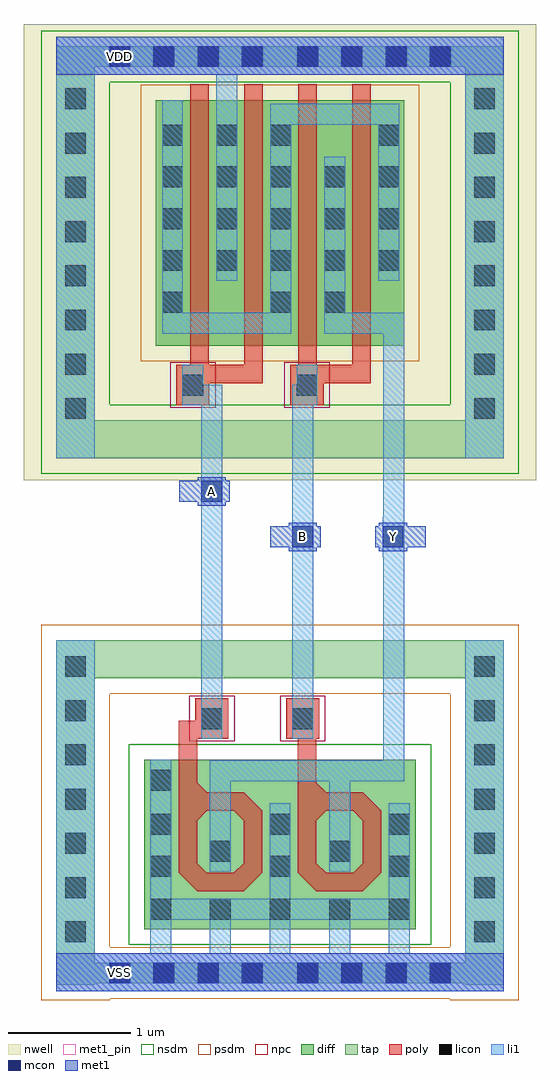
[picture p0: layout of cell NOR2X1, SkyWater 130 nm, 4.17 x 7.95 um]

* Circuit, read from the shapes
.subckt NOR2X1 A B VDD VSS Y
XM1 VSS A Y VSS sky130_fd_pr__nfet_01v8 w=2.56 l=0.1455
XM2 VSS B Y VSS sky130_fd_pr__nfet_01v8 w=2.56 l=0.1461
XM3 VDD A n1 VDD sky130_fd_pr__pfet_01v8 w=2 l=0.15 m=2
XM4 Y B n1 VDD sky130_fd_pr__pfet_01v8 w=2 l=0.15 m=2
.ends

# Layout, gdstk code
import gdstk
lib = gdstk.Library(unit=1e-6, precision=1e-09)
def R(c, l, rs):  # rectangles x0, y0, x1, y1
    for r in rs: c.add(gdstk.rectangle(r[:2], r[2:], *l))
def A(c, l, x, y, w, h, nx, ny, dx, dy):  # array of equal rectangles
    R(c, l, [(x+i*dx, y+j*dy, x+i*dx+w, y+j*dy+h) for i in range(nx) for j in range(ny)])
def P(c, l, *ps):  # polygons
    for p in ps: c.add(gdstk.Polygon(p, *l))
nwell = (64, 20)
diff = (65, 20)
tap = (65, 44)
poly = (66, 20)
licon = (66, 44)
li1 = (67, 20)
mcon = (67, 44)
met1_pin = (68, 16)
met1 = (68, 20)
nsdm = (93, 44)
psdm = (94, 20)
npc = (95, 20)

nor2x1 = lib.new_cell('NOR2X1')
R(nor2x1, nwell, [(-0.42,4.16,3.75,7.875)])
R(nor2x1, diff, [(0.56,0.505,2.77,1.885), (0.655,5.255,2.675,7.255)])
R(nor2x1, tap, [(-0.155,0.055,0.155,0.065), (3.175,0.055,3.485,0.065), (-0.155,0.065,3.485,0.235), (-0.155,0.235,0.155,2.55), (3.175,0.235,3.485,2.55), (-0.155,2.55,3.485,2.86), (-0.155,4.34,3.485,4.65), (-0.155,4.65,0.155,7.525), (3.175,4.65,3.485,7.525), (-0.155,7.525,3.485,7.695)])
A(nor2x1, poly, 0.935, 5.1, 0.15, 2.285, 4, 1, 0.44, 0)
R(nor2x1, poly, [(0.99,0.815,1.37,0.965), (1.96,0.815,2.34,0.965), (0.84,0.965,0.99,1.47), (1.37,0.965,1.52,1.47), (1.81,0.965,1.96,1.395), (2.34,0.965,2.49,1.395), (1.81,1.395,1.965,1.47), (2.335,1.395,2.49,1.47), (0.84,1.47,1.37,1.62), (1.81,1.47,2.34,1.62), (0.84,1.62,0.99,2.055), (1.81,1.62,1.96,2.055), (0.84,2.055,1.245,2.205), (1.715,2.055,1.985,2.385), (0.975,2.205,1.245,2.385), (0.82,4.77,1.09,4.95), (1.75,4.77,2.02,4.95), (0.82,4.95,1.525,5.1), (1.75,4.95,2.405,5.1)])
P(nor2x1, poly, [(0.99,1.7),(0.99,1.62),(1.07,1.62)],
  [(1.96,1.7),(1.96,1.62),(2.04,1.62)],
  [(1.37,1.62),(1.37,1.47),(1.52,1.47)],
  [(0.99,1.39),(0.99,1.47),(1.07,1.47)],
  [(1.29,1.47),(1.37,1.47),(1.37,1.39)],
  [(0.99,1.045),(0.99,0.965),(1.07,0.965)],
  [(1.29,0.965),(1.37,0.965),(1.37,1.045)],
  [(0.84,0.965),(0.99,0.965),(0.99,0.815)],
  [(1.37,0.815),(1.37,0.965),(1.52,0.965)],
  [(2.34,1.62),(2.34,1.47),(2.49,1.47)],
  [(1.965,1.395),(1.965,1.47),(2.04,1.47)],
  [(2.26,1.47),(2.335,1.47),(2.335,1.395)],
  [(1.96,1.045),(1.96,0.965),(2.04,0.965)],
  [(2.26,0.965),(2.34,0.965),(2.34,1.045)],
  [(1.81,0.965),(1.96,0.965),(1.96,0.815)],
  [(2.34,0.815),(2.34,0.965),(2.49,0.965)])
A(nor2x1, licon, 0.275, 0.065, 0.17, 0.17, 4, 2, 0.36, 7.46)
A(nor2x1, licon, 1.805, 0.065, 0.17, 0.17, 4, 2, 0.36, 7.46)
A(nor2x1, licon, -0.085, 0.4, 0.17, 0.17, 1, 7, 0, 0.36)
A(nor2x1, licon, 3.245, 0.4, 0.17, 0.17, 1, 7, 0, 0.36)
A(nor2x1, licon, 0.61, 0.585, 0.17, 0.17, 5, 1, 0.485, 0)
A(nor2x1, licon, 0.61, 0.935, 0.17, 0.17, 3, 2, 0.97, 0.34)
A(nor2x1, licon, -0.085, 4.66, 0.17, 0.17, 1, 8, 0, 0.36)
A(nor2x1, licon, 3.245, 4.66, 0.17, 0.17, 1, 8, 0, 0.36)
A(nor2x1, licon, 0.705, 5.865, 0.17, 0.17, 5, 3, 0.44, 0.34)
A(nor2x1, licon, 0.705, 6.885, 0.17, 0.17, 3, 1, 0.44, 0)
R(nor2x1, licon, [(1.095,1.055,1.265,1.225), (2.065,1.055,2.235,1.225), (0.61,1.635,0.78,1.805), (1.025,2.135,1.195,2.305), (1.765,2.135,1.935,2.305), (0.87,4.85,1.04,5.02), (1.8,4.85,1.97,5.02), (0.705,5.525,0.875,5.695), (1.585,5.525,1.755,5.695), (2.025,5.525,2.195,5.695), (2.465,6.885,2.635,7.055)])
A(nor2x1, li1, 0.61, 0.31, 0.17, 0.275, 5, 1, 0.485, 0)
R(nor2x1, li1, [(-0.155,0,3.485,0.31), (-0.155,0.31,0.155,2.86), (3.175,0.31,3.485,2.86), (0.61,0.585,2.72,0.755), (0.61,0.755,0.78,1.885), (1.58,0.755,1.75,1.53), (2.55,0.755,2.72,1.53), (1.095,0.975,1.265,1.71), (2.065,0.975,2.235,1.71), (1.095,1.71,2.675,1.88), (2.505,1.88,2.675,3.535), (1.025,2.055,1.195,4.77), (1.765,2.055,1.935,4.77), (2.5,3.535,2.675,3.865), (2.505,3.865,2.675,5.355), (-0.155,4.34,0.155,7.46), (3.175,4.34,3.485,7.46), (0.87,4.77,1.195,4.94), (1.765,4.77,1.97,4.94), (0.87,4.94,1.04,5.1), (1.8,4.94,1.97,5.1), (0.705,5.355,1.755,5.525), (2.025,5.355,2.675,5.525), (0.705,5.525,0.875,7.255), (1.585,5.525,1.755,7.055), (2.025,5.525,2.195,6.795), (1.145,5.785,1.315,7.46), (2.465,5.785,2.635,7.055), (1.585,7.055,2.635,7.225), (-0.155,7.46,3.485,7.77)])
A(nor2x1, mcon, 0.275, 0.065, 0.17, 0.17, 4, 2, 0.36, 7.46)
A(nor2x1, mcon, 1.805, 0.065, 0.17, 0.17, 4, 2, 0.36, 7.46)
R(nor2x1, mcon, [(1.765,3.615,1.935,3.785), (2.5,3.615,2.67,3.785), (1.025,3.985,1.195,4.155)])
R(nor2x1, met1_pin, [(0.275,0.065,0.445,0.235), (1.765,3.615,1.935,3.785), (2.5,3.615,2.67,3.785), (1.025,3.985,1.195,4.155), (0.275,7.525,0.445,7.695)])
R(nor2x1, met1, [(-0.155,0,3.485,0.31), (1.735,3.585,1.965,3.615), (2.47,3.585,2.7,3.615), (1.585,3.615,1.995,3.785), (2.44,3.615,2.85,3.785), (1.735,3.785,1.965,3.815), (2.47,3.785,2.7,3.815), (0.995,3.955,1.225,3.985), (0.845,3.985,1.255,4.155), (0.995,4.155,1.225,4.185), (-0.155,7.46,3.485,7.77)])
R(nor2x1, nsdm, [(0.435,0.38,2.895,2.01), (-0.28,4.215,3.61,4.775), (-0.28,4.775,0.28,7.4), (3.05,4.775,3.61,7.4), (-0.28,7.4,3.61,7.82)])
R(nor2x1, psdm, [(-0.28,-0.07,0.28,-0.06), (3.05,-0.07,3.61,-0.06), (-0.28,-0.06,3.61,0.36), (-0.28,0.36,0.28,2.425), (3.05,0.36,3.61,2.425), (-0.28,2.425,3.61,2.985), (0.53,5.13,2.8,7.38)])
R(nor2x1, npc, [(0.925,2.035,1.295,2.405), (1.665,2.035,2.035,2.405), (0.77,4.75,1.14,5.12), (1.7,4.75,2.07,5.12)])
nor2x1.add(gdstk.Label('Y', (2.585,3.7), layer=68, texttype=16))
nor2x1.add(gdstk.Label('A', (1.11,4.07), layer=68, texttype=16))
nor2x1.add(gdstk.Label('B', (1.85,3.7), layer=68, texttype=16))
nor2x1.add(gdstk.Label('VDD', (0.36,7.61), layer=68, texttype=16))
nor2x1.add(gdstk.Label('VSS', (0.36,0.15), layer=68, texttype=16))

lib.write_gds('NOR2X1.gds')
